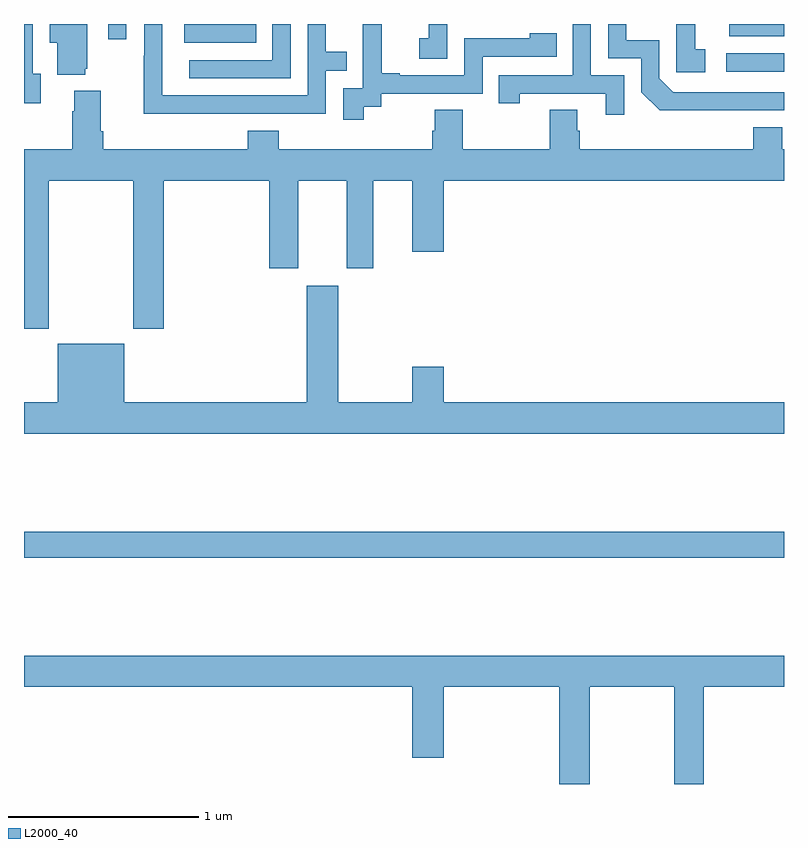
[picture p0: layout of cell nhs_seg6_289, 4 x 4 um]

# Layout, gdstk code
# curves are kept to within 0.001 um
import gdstk
lib = gdstk.Library(unit=1e-6, precision=1e-09)
def R(c, l, rs):  # rectangles x0, y0, x1, y1
    for r in rs: c.add(gdstk.rectangle(r[:2], r[2:], *l))
def P(c, l, *ps):  # polygons
    for p in ps: c.add(gdstk.Polygon(p, *l))
L2000_40 = (2000, 40)

nhs_seg6_289 = lib.new_cell('nhs_seg6_289')
R(nhs_seg6_289, L2000_40, [(127,938.692,131,938.828), (130.695,941.25,131,941.346), (127.844,941.402,128.222,941.5), (127.443,941.421,127.539,941.5), (130.712,941.435,131,941.5)])
P(nhs_seg6_289, L2000_40, [(128.788,941.065),(128.88,941.065),(128.88,941.133),(129.414,941.133),(129.414,941.328),(129.803,941.328),(129.803,941.451),(129.663,941.451),(129.663,941.424),(129.318,941.424),(129.318,941.229),(128.977,941.229),(128.977,941.242),(128.882,941.242),(128.882,941.5),(128.783,941.5),(128.783,941.393),(128.784,941.393),(128.784,941.163),(128.679,941.163),(128.679,940.995),(128.788,940.995)],
  [(127.087,941.238),(127.047,941.238),(127.047,941.5),(127,941.5),(127,941.082),(127.087,941.082)],
  [(130.158,941.229),(129.984,941.229),(129.984,941.5),(129.888,941.5),(129.888,941.229),(129.499,941.229),(129.499,941.082),(129.61,941.082),(129.61,941.133),(130.061,941.133),(130.061,941.022),(130.158,941.022)],
  [(129.228,941.5),(129.13,941.5),(129.13,941.425),(129.081,941.425),(129.081,941.316),(129.228,941.316)],
  [(127.322,941.265),(127.333,941.265),(127.333,941.5),(127.136,941.5),(127.136,941.402),(127.175,941.402),(127.175,941.234),(127.322,941.234)],
  [(130.585,941.367),(130.532,941.367),(130.532,941.5),(130.434,941.5),(130.434,941.247),(130.585,941.247)],
  [(128.093,941.028),(128.589,941.028),(128.589,941.253),(128.699,941.253),(128.699,941.354),(128.589,941.354),(128.589,941.5),(128.493,941.5),(128.493,941.124),(127.728,941.124),(127.728,941.5),(127.632,941.5),(127.632,941.333),(127.63,941.333),(127.63,941.027),(128.093,941.027)],
  [(130.754,941.046),(131,941.046),(131,941.142),(130.416,941.142),(130.344,941.214),(130.344,941.415),(130.171,941.415),(130.171,941.5),(130.074,941.5),(130.074,941.319),(130.248,941.319),(130.248,941.142),(130.346,941.045)],
  [(128.403,941.5),(128.307,941.5),(128.307,941.31),(127.869,941.31),(127.869,941.214),(128.403,941.214)],
  [(127.131,940.676),(127.576,940.676),(127.576,939.897),(127.736,939.897),(127.736,940.676),(128.291,940.676),(128.291,940.215),(128.443,940.215),(128.443,940.676),(128.699,940.676),(128.699,940.215),(128.839,940.215),(128.839,940.676),(129.044,940.676),(129.044,940.302),(129.208,940.302),(129.208,940.676),(131,940.676),(131,940.84),(130.99,940.84),(130.99,940.957),(130.838,940.957),(130.838,940.84),(129.926,940.84),(129.926,940.938),(129.913,940.938),(129.913,941.048),(129.766,941.048),(129.766,940.84),(129.309,940.84),(129.309,941.048),(129.161,941.048),(129.161,940.938),(129.149,940.938),(129.149,940.84),(128.342,940.84),(128.342,940.939),(128.177,940.939),(128.177,940.84),(127.418,940.84),(127.418,940.936),(127.405,940.936),(127.405,941.149),(127.265,941.149),(127.265,941.042),(127.253,941.042),(127.253,940.84),(127,940.84),(127,939.897),(127.131,939.897)],
  [(131,939.508),(129.208,939.508),(129.208,939.697),(129.044,939.697),(129.044,939.508),(128.653,939.508),(128.653,940.123),(128.489,940.123),(128.489,939.508),(127.528,939.508),(127.528,939.817),(127.178,939.817),(127.178,939.508),(127,939.508),(127,939.344),(131,939.344)],
  [(127,938.012),(129.044,938.012),(129.044,937.638),(129.208,937.638),(129.208,938.012),(129.818,938.012),(129.818,937.5),(129.977,937.5),(129.977,938.012),(130.423,938.012),(130.423,937.5),(130.578,937.5),(130.578,938.012),(131,938.012),(131,938.176),(127,938.176)])

lib.write_gds('nhs_seg6_289.gds')
